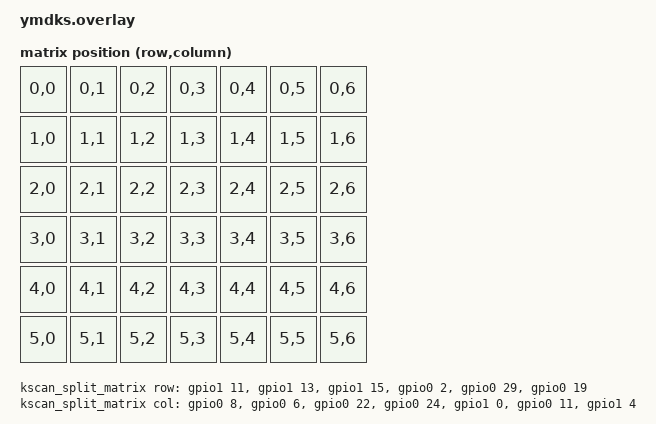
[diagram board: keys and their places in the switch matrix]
// File: ymdks.overlay
// This file contains the hardware definitions for your keyboard shield.

#include <dt-bindings/zmk/matrix_transform.h>

/ {

	chosen {
		zmk,kscan = &kscan_split_matrix;
		zmk,matrix_transform = &default_transform;
	};

	kscan_split_matrix: kscan_split_matrix {
		compatible = "zmk,kscan-split-matrix";
		label = "kscan_split_matrix";
		diode-direction = "col2row";
		rows = <6>;
		columns = <7>;

		row-gpios = <&gpio1 11 GPIO_ACTIVE_LOW>,
			<&gpio1 13 GPIO_ACTIVE_LOW>,
			<&gpio1 15 GPIO_ACTIVE_LOW>,
			<&gpio0 2 GPIO_ACTIVE_LOW>,
			<&gpio0 29 GPIO_ACTIVE_LOW>,
			<&gpio0 19 GPIO_ACTIVE_LOW>;
		col-gpios = <&gpio0 8 GPIO_ACTIVE_LOW>,
			<&gpio0 6 GPIO_ACTIVE_LOW>,
			<&gpio0 22 GPIO_ACTIVE_LOW>,
			<&gpio0 24 GPIO_ACTIVE_LOW>,
			<&gpio1 0 GPIO_ACTIVE_LOW>,
			<&gpio0 11 GPIO_ACTIVE_LOW>,
			<&gpio1 4 GPIO_ACTIVE_LOW>;
	};

	default_transform: matrix_transform {
		compatible = "zmk,matrix-transform";
		rows = <6>;
		columns = <7>;

		map = <
			RC(0,0) RC(0,1) RC(0,2) RC(0,3) RC(0,4) RC(0,5) RC(0,6)
			RC(1,0) RC(1,1) RC(1,2) RC(1,3) RC(1,4) RC(1,5) RC(1,6)
			RC(2,0) RC(2,1) RC(2,2) RC(2,3) RC(2,4) RC(2,5) RC(2,6)
			RC(3,0) RC(3,1) RC(3,2) RC(3,3) RC(3,4) RC(3,5) RC(3,6)
			RC(4,0) RC(4,1) RC(4,2) RC(4,3) RC(4,4) RC(4,5) RC(4,6)
			RC(5,0) RC(5,1) RC(5,2) RC(5,3) RC(5,4) RC(5,5) RC(5,6)
		>;
	};

};
